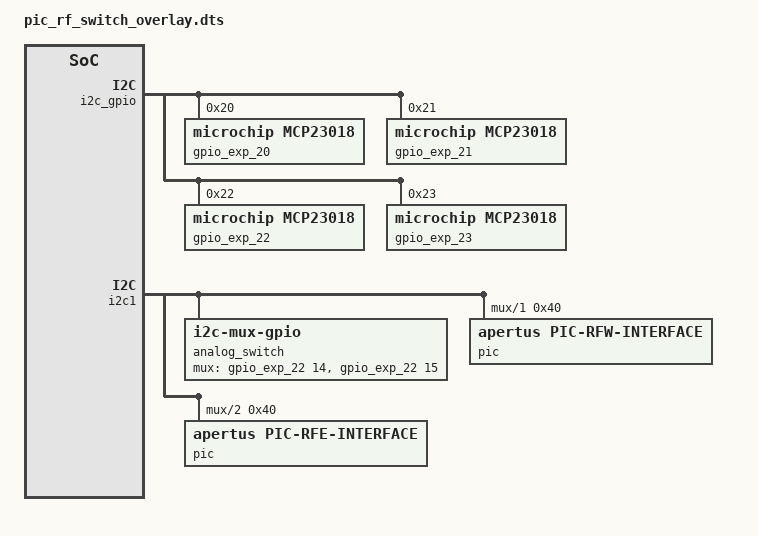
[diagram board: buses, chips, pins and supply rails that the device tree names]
/dts-v1/;
/plugin/;
	    
/ {
	fragment@0 {
		target = <&i2c_gpio>;
		__overlay__ {
			#address-cells = <1>;
			#size-cells = <0>;
			gpio_exp_20: mcp23018@20 {
				#gpio-cells = <2>;
				gpio-controller;
				compatible = "microchip,mcp23018";
				reg = <0x20>;
			};
			gpio_exp_21: mcp23018@21 {
				#gpio-cells = <2>;
				gpio-controller;
				compatible = "microchip,mcp23018";
				reg = <0x21>;
			};
			gpio_exp_22: mcp23018@22 {
				#gpio-cells = <2>;
				gpio-controller;
				compatible = "microchip,mcp23018";
				reg = <0x22>;
			};
			gpio_exp_23: mcp23018@23 {
				#gpio-cells = <2>;
				gpio-controller;
				compatible = "microchip,mcp23018";
				reg = <0x23>;
			};
		};
	};

	fragment@1 {
		target = <&amba>;
		__overlay__ {
			analog_switch {
				compatible = "i2c-mux-gpio";
				#address-cells = <1>;
				#size-cells = <0>;
				mux-gpios = <&gpio_exp_22 14 0 &gpio_exp_22 15 0>;
				i2c-parent = <&i2c1>;

				i2c@1 {
					#address-cells = <1>;
					#size-cells = <0>;
					reg = <1>;
					pic@40 {
						compatible = "apertus,pic-rfw-interface";
						reg = <0x40>;
					};
				};

				i2c@2 {
					#address-cells = <1>;
					#size-cells = <0>;
					reg = <2>;
					pic@40 {
						compatible = "apertus,pic-rfe-interface";
						reg = <0x40>;
					};
				};
			};
		};
	};
};
